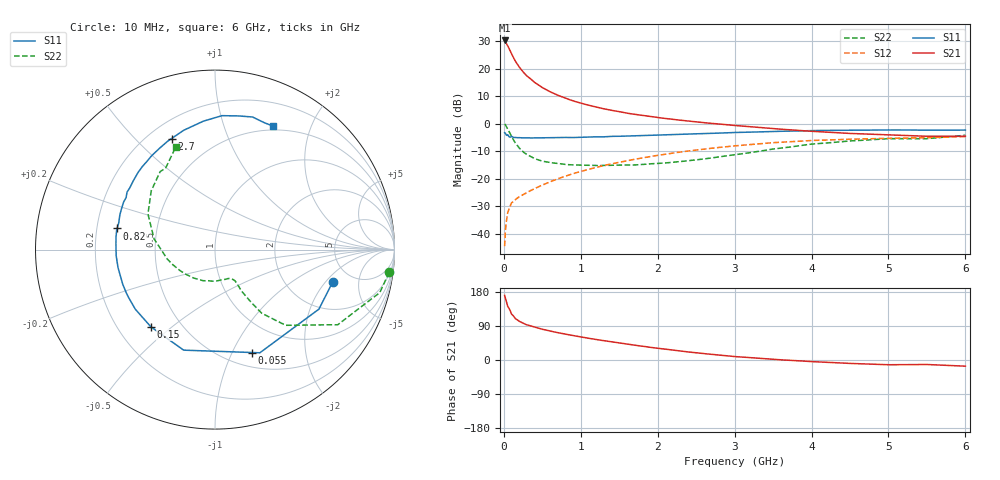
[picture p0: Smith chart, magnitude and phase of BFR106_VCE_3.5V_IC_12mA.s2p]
! Infineon Technologies  Discrete & RF Semiconductors
! BFR106
! VCE =  3.5 V,  IC =  12 mA
! Common Emitter S-Parameters:  Nov 2015
# GHz  S  MA  R  50
!  f  S11  S21  S12  S22
! GHz  MAG  ANG  MAG  ANG  MAG  ANG  MAG  ANG
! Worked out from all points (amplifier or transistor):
!   210 points, 10 MHz to 6 GHz, reference 50 ohm
!   highest |S21| = 30.2 dB at 10 MHz (marker M1)
!   |S21| within 3 dB of that: start of sweep to 68.48 MHz
!   unconditionally stable (mu >= 1): 461.9 MHz to 2.137 GHz; 5.214 GHz to end of sweep
!   at 185 MHz: K = 0.62, MSG = 24.1 dB, |S12| = -26.9 dB
!   at 1.52 GHz: K = 1.07, MAG = 7.4 dB, |S12| = -14.0 dB
!   at 6 GHz: K = 1.01, MAG = -0.5 dB, |S12| = -4.7 dB
!   S11 on the Smith chart (normalised r, x): 10 MHz: 3.57, -2.39; 55 MHz: 0.66, -1.20; 150 MHz: 0.34, -0.42; 820 MHz: 0.29, +0.10; 2.7 GHz: 0.29, +0.64; 6 GHz: 0.45, +1.48
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0.01  0.6803 -15.3  32.38 170.4  0.0059 85.9  0.9786 -7.4
0.02  0.6673 -29.8  31.32 162.7  0.0111 77.1  0.9491 -14.6
0.05  0.6269 -66.5  26.04 141.8  0.0239 63.1  0.8018 -31.5
0.055  0.6098 -70.1  25.17 140.3  0.0251 61.4  0.7773 -32.6
0.1  0.5868 -107.3  18.45 121.3  0.0361 51.1  0.5767 -47.0
0.15  0.5592 -129.7  13.53 109.1  0.0416 47.4  0.4395 -53.7
0.2  0.5544 -143.2  10.67 102.1  0.0467 48.2  0.3602 -55.5
0.24  0.5504 -150.9  9.057 97.8  0.05 49.4  0.3155 -56.4
0.26  0.5499 -154.1  8.391 95.8  0.0518 50.2  0.2981 -56.8
0.3  0.5491 -159.5  7.314 92.7  0.0558 51.9  0.2732 -57.4
0.4  0.5495 -169.4  5.592 86.6  0.0657 54.9  0.2301 -57.1
0.5  0.5517 -176.5  4.503 81.1  0.076 57.9  0.2069 -57.3
0.6  0.5528 177.5  3.789 76.4  0.0872 59.7  0.1956 -58.6
0.82  0.5581 167.8  2.822 67.5  0.1129 61.7  0.1794 -63.7
1.02  0.5651 159.2  2.307 60.2  0.137 62.3  0.1756 -69.9
1.4  0.5855 146.8  1.734 48.1  0.1849 60.8  0.1749 -85.7
2.02  0.6184 128.7  1.276 30.5  0.2666 54.6  0.1889 -118.0
2.7  0.6641 111.4  1.007 15.0  0.3555 45.2  0.2369 -154.7
3.1  0.692 102.7  0.899 7.8  0.4033 38.9  0.2823 -173.9
4.1  0.7482 85.6  0.71 -5.1  0.4963 22.3  0.4327 148.8
5.1  0.7653 73.1  0.614 -12.4  0.5414 8.1  0.531 124.3
6  0.7605 64.8  0.586 -16.3  0.5815 -2.5  0.6131 110.8
